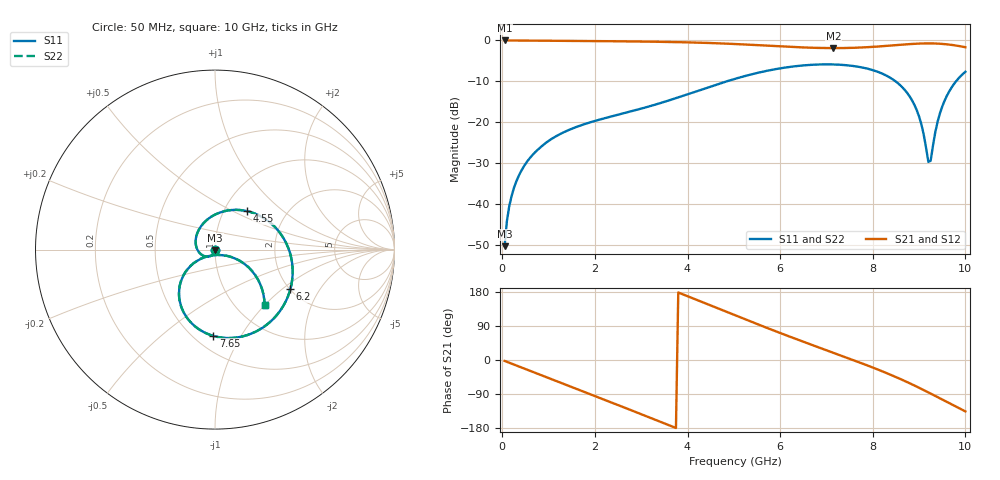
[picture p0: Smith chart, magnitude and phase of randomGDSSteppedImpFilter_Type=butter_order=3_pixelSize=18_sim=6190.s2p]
! freq	dB(S11)	phase(S11)	dB(S12)	phase(S12)
!  dB(S21)	phase(S21)	dB(S22)	phase(S22)
!S-par simulation data
#  GHz  S  DB  R 50
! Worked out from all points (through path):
!   200 points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, 50 MHz to 10 GHz, reference 50 ohm
!   highest |S21| = 0.00 dB at 50 MHz (marker M1); lowest = -1.9 dB at 7.15 GHz (marker M2)
!   group delay of S21, straight-line fit = 134 ps
!   lowest |S11| = -50.3 dB at 50 MHz (marker M3), VSWR 1.01, Z = 50 - j0.306 ohm
!   |S11| at or under -10 dB: start of sweep to 4.843 GHz; 8.493 GHz to 9.798 GHz (1.305 GHz wide, 14.3 % of centre)
!   |S22| runs from -50.3 to -5.8 dB; largest |S21 - S12| = 0
!   S11 on the Smith chart (normalised r, x): 50 MHz: 1.00, -0.01; 4.55 GHz: 1.28, +0.60; 6.2 GHz: 2.01, -1.15; 7.65 GHz: 0.61, -0.77; 10 GHz: 1.34, -1.00
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0.05  -50.27 -86.5  -0.00 -2.4  -0.00 -2.4  -50.25 -86.4
0.1  -44.08 -91.7  -0.01 -4.8  -0.01 -4.8  -44.08 -91.7
0.2  -38.03 -98.2  -0.02 -9.6  -0.02 -9.6  -38.03 -98.2
0.5  -30.19 -113.8  -0.04 -23.8  -0.04 -23.8  -30.19 -113.8
1.15  -23.48 -146.0  -0.08 -54.7  -0.08 -54.7  -23.48 -146.0
1.75  -20.54 -174.9  -0.13 -83.2  -0.13 -83.2  -20.54 -174.8
2.5  -18.15 149.1  -0.21 -118.9  -0.21 -118.9  -18.15 149.2
3.4  -15.35 105.6  -0.33 -162.4  -0.33 -162.4  -15.35 105.7
3.95  -13.35 78.9  -0.45 170.8  -0.45 170.8  -13.35 79.0
4.55  -11.06 49.9  -0.65 141.3  -0.65 141.3  -11.06 49.9
5.05  -9.30 25.8  -0.88 116.8  -0.88 116.8  -9.30 25.8
5.6  -7.69 -0.2  -1.20 90.2  -1.20 90.2  -7.69 -0.3
6.2  -6.48 -27.8  -1.56 62.0  -1.56 62.0  -6.48 -27.8
6.7  -5.94 -50.0  -1.79 39.2  -1.79 39.2  -5.94 -50.0
7.15  -5.87 -69.5  -1.87 19.1  -1.87 19.1  -5.87 -69.6
7.65  -6.36 -91.2  -1.77 -3.5  -1.77 -3.5  -6.36 -91.3
8.35  -8.93 -122.7  -1.28 -37.2  -1.28 -37.2  -8.93 -122.8
8.9  -15.76 -146.2  -0.82 -67.3  -0.82 -67.3  -15.77 -146.6
9.05  -20.51 -146.9  -0.74 -76.3  -0.74 -76.3  -20.54 -147.4
9.2  -29.66 -106.5  -0.72 -85.5  -0.72 -85.5  -29.88 -107.1
9.55  -14.73 -26.0  -0.89 -107.6  -0.89 -107.6  -14.74 -25.8
10  -7.65 -48.2  -1.66 -135.6  -1.66 -135.6  -7.65 -48.2
